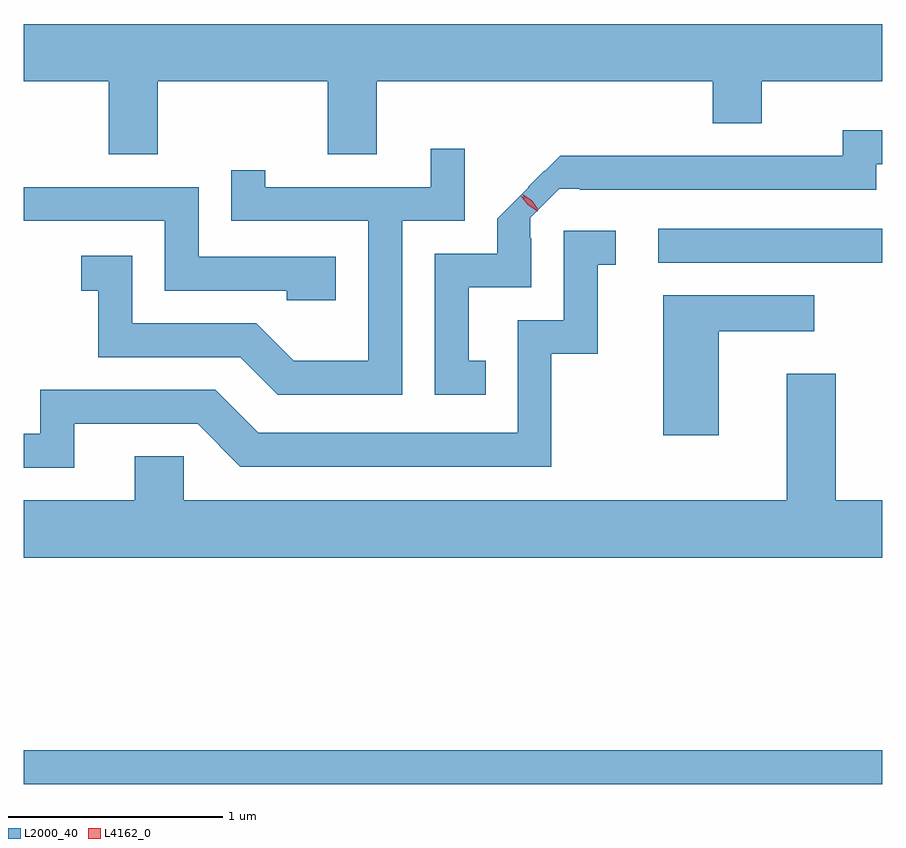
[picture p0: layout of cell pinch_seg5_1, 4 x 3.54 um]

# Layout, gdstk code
import gdstk
lib = gdstk.Library(unit=1e-6, precision=1e-09)
def R(c, l, rs):  # rectangles x0, y0, x1, y1
    for r in rs: c.add(gdstk.rectangle(r[:2], r[2:], *l))
def P(c, l, *ps):  # polygons
    for p in ps: c.add(gdstk.Polygon(p, *l))
L2000_40 = (2000, 40)
L4162_0 = (4162, 0)

pinch_seg5_1 = lib.new_cell('pinch_seg5_1')
R(pinch_seg5_1, L2000_40, [(879.025,1493.481,883.025,1493.639), (881.983,1495.911,883.025,1496.069)])
P(pinch_seg5_1, L2000_40, [(879.649,1496.756),(880.441,1496.756),(880.441,1496.416),(880.669,1496.416),(880.669,1496.756),(882.236,1496.756),(882.236,1496.561),(882.464,1496.561),(882.464,1496.756),(883.025,1496.756),(883.025,1497.024),(879.025,1497.024),(879.025,1496.756),(879.421,1496.756),(879.421,1496.416),(879.649,1496.416)],
  [(881.178,1495.454),(881.099,1495.454),(881.099,1495.796),(881.389,1495.796),(881.389,1496.025),(881.385,1496.025),(881.385,1496.12),(881.521,1496.255),(881.615,1496.255),(881.615,1496.251),(882.999,1496.251),(882.999,1496.371),(883.025,1496.371),(883.025,1496.529),(882.841,1496.529),(882.841,1496.409),(881.524,1496.409),(881.452,1496.337),(881.45,1496.339),(881.376,1496.265),(881.377,1496.263),(881.231,1496.117),(881.231,1495.954),(880.941,1495.954),(880.941,1495.296),(881.178,1495.296)],
  [(880.789,1496.106),(881.079,1496.106),(881.079,1496.443),(880.921,1496.443),(880.921,1496.264),(880.149,1496.264),(880.149,1496.343),(879.991,1496.343),(879.991,1496.106),(880.631,1496.106),(880.631,1495.454),(880.282,1495.454),(880.107,1495.629),(879.529,1495.629),(879.529,1495.944),(879.293,1495.944),(879.293,1495.781),(879.371,1495.781),(879.371,1495.471),(880.034,1495.471),(880.209,1495.296),(880.789,1495.296)],
  [(880.479,1495.939),(879.839,1495.939),(879.839,1496.264),(879.025,1496.264),(879.025,1496.106),(879.681,1496.106),(879.681,1495.781),(880.251,1495.781),(880.251,1495.736),(880.479,1495.736)],
  [(879.259,1495.161),(879.834,1495.161),(880.034,1494.961),(881.484,1494.961),(881.484,1495.486),(881.699,1495.486),(881.699,1495.901),(881.783,1495.901),(881.783,1496.059),(881.541,1496.059),(881.541,1495.644),(881.326,1495.644),(881.326,1495.119),(880.117,1495.119),(879.917,1495.319),(879.101,1495.319),(879.101,1495.114),(879.025,1495.114),(879.025,1494.956),(879.259,1494.956)],
  [(882.264,1495.591),(882.708,1495.591),(882.708,1495.759),(882.006,1495.759),(882.006,1495.106),(882.264,1495.106)],
  [(883.025,1494.804),(882.809,1494.804),(882.809,1495.394),(882.581,1495.394),(882.581,1494.804),(879.769,1494.804),(879.769,1495.009),(879.541,1495.009),(879.541,1494.804),(879.025,1494.804),(879.025,1494.536),(883.025,1494.536)])
P(pinch_seg5_1, L4162_0, [(881.418,1496.152),(881.373,1496.181),(881.341,1496.223),(881.341,1496.224),(881.341,1496.224),(881.386,1496.195),(881.419,1496.153),(881.419,1496.152)],
  [(881.42,1496.161),(881.379,1496.187),(881.351,1496.227),(881.351,1496.228),(881.352,1496.228),(881.393,1496.202),(881.42,1496.162),(881.42,1496.161)])

lib.write_gds('pinch_seg5_1.gds')
